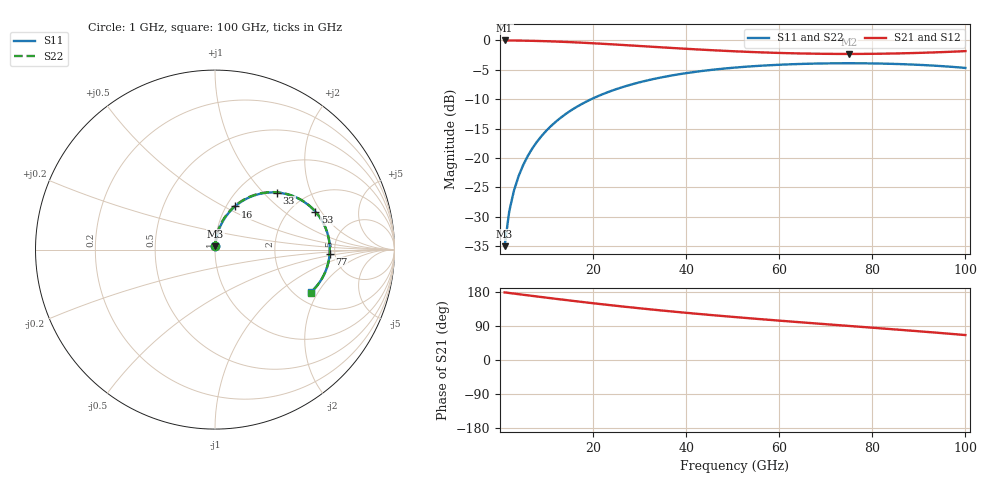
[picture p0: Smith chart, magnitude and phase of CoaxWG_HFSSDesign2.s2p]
! Touchstone file exported from HFSS 2020.2.0
!  File:  /home/erdoel/scratch/Other/CoaxWG.aedt
!  Generated:  12:00:56 PM  Oct 13, 2021
!  Design:  HFSSDesign2
!  Project:  CoaxWG
!  Setup:  Setup1
!  Solution:  Sweep
! Variables:
!  length = 1mm
!  th = 0.05mm
!  w = 0.2mm
# GHZ S MA R 50.000000
! Terminal data exported
! Port[1] = 1
! Port[2] = 2
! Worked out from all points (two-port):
!   100 points, 1 GHz to 100 GHz, reference 50 ohm
!   highest |S21| = 0.00 dB at 1 GHz (marker M1); lowest = -2.3 dB at 75 GHz (marker M2)
!   |S21| within 3 dB of the highest: start of sweep to end of sweep
!   lowest |S11| = -35.0 dB at 1 GHz (marker M3), VSWR 1.04, Z = 50.2 + j1.77 ohm
!   |S11| at or under -10 dB: start of sweep to 19.61 GHz
!   |S22| runs from -35.1 to -3.9 dB; largest |S21 - S12| = 1.9e-15
!   S11 on the Smith chart (normalised r, x): 1 GHz: 1.00, +0.04; 16 GHz: 1.10, +0.57; 33 GHz: 1.47, +1.20; 53 GHz: 2.70, +1.77; 77 GHz: 4.52, -0.35; 100 GHz: 2.40, -1.73
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1  0.0178 83.1  0.9997 178.4  0.9997 178.4  0.01761 92.7
! Gamma 0.106938665141216 21.0755280355261 0.103829677701408 21.0702500398888
! Port Impedance 50 0 50 0
2  0.03526 84.0  0.9991 176.9  0.9991 176.9  0.0351 88.9
3  0.05268 83.3  0.9983 175.3  0.9983 175.3  0.05254 86.6
4  0.07003 82.2  0.9972 173.7  0.9972 173.7  0.06991 84.7
5  0.08728 80.9  0.9958 172.2  0.9958 172.2  0.08717 82.9
7  0.1214 78.1  0.9921 169.1  0.9921 169.1  0.1213 79.6
9  0.1549 75.3  0.9874 166.0  0.9874 166.0  0.1548 76.4
12  0.2036 70.9  0.9784 161.5  0.9784 161.5  0.2035 71.7
16  0.265 65.1  0.9636 155.5  0.9636 155.5  0.2649 65.7
18  0.294 62.3  0.9551 152.7  0.9551 152.7  0.2939 62.8
25  0.3853 52.7  0.922 143.0  0.922 143.0  0.3852 53.1
33  0.4696 42.6  0.882 132.8  0.882 132.8  0.4696 42.8
34  0.4787 41.4  0.8771 131.6  0.8771 131.6  0.4787 41.6
42  0.5406 32.2  0.8404 122.3  0.8404 122.3  0.5406 32.4
51  0.5899 22.7  0.8066 112.8  0.8066 112.8  0.5899 22.8
53  0.5983 20.6  0.8004 110.8  0.8004 110.8  0.5982 20.8
67  0.6346 7.2  0.772 97.3  0.772 97.3  0.6346 7.3
75  0.6397 -0.2  0.7678 89.8  0.7678 89.8  0.6397 -0.2
77  0.6393 -2.0  0.7681 88.0  0.7681 88.0  0.6393 -2.0
84  0.6326 -8.5  0.7736 81.5  0.7736 81.5  0.6326 -8.5
92  0.6143 -16.1  0.7881 73.8  0.7881 73.8  0.6143 -16.2
100  0.5835 -24.1  0.8112 65.8  0.8112 65.8  0.5835 -24.2
